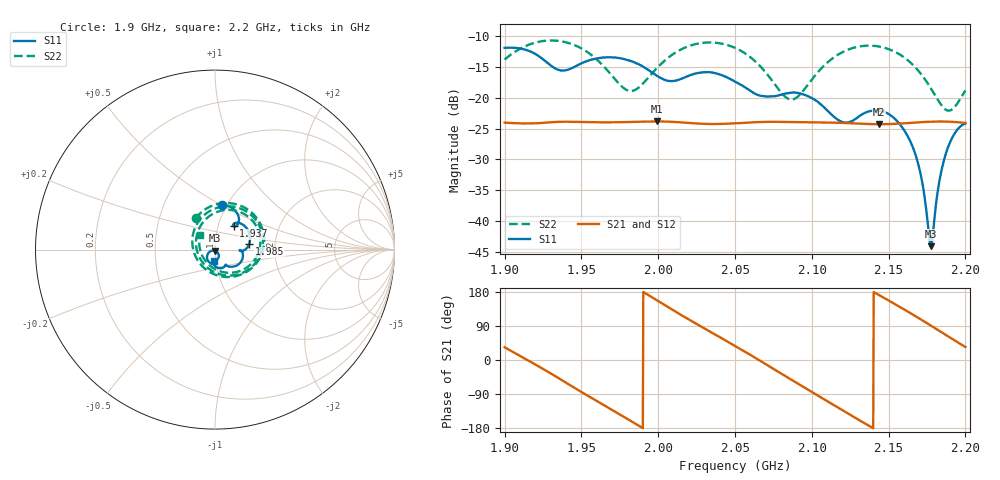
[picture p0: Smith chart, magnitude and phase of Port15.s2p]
# Hz S RI R 50
! CMT, CMT808U, 21440046, 21.4.3/4
! Date: 3/28/2026 5:06:58 PM
! Data: Format (Calibration Info)
! Freq	S11:Re/Im(F2)	S41:Re/Im(F2)	S14:Re/Im(F2)	S44:Re/Im(F2)
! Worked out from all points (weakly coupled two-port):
!   1001 points, 1.9 GHz to 2.2 GHz, reference 50 ohm
!   highest |S21| = -23.83 dB at 1.999 GHz (marker M1); lowest = -24.3 dB at 2.144 GHz (marker M2)
!   lowest |S11| = -44.0 dB at 2.178 GHz (marker M3), VSWR 1.01, Z = 49.8 - j0.607 ohm
!   |S11| at or under -10 dB: start of sweep to end of sweep
!   |S22| runs from -22.1 to -10.7 dB; largest |S21 - S12| = 0.00045
!   S11 on the Smith chart (normalised r, x): 1.9 GHz: 0.95, +0.51; 1.937 GHz: 1.19, +0.32; 1.985 GHz: 1.47, +0.09; 2.2 GHz: 0.99, -0.12
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1.9e9  0.038 0.2512  0.0524 0.0349  0.0521 0.0351  -0.108 0.1735
1.9177e9  0.1257 0.1981  0.0616 -0.00717  0.0615 -0.00681  0.096 0.2573
1.9372e9  0.104 0.1298  0.0385 -0.0511  0.0387 -0.0508  0.2682 0.1011
1.9501e9  0.1179 0.1497  0.006 -0.0633  0.00635 -0.0632  0.2451 -0.0546
1.9675e9  0.1799 0.1142  -0.0371 -0.0513  -0.0367 -0.0514  0.0599 -0.1525
1.9852e9  0.1898 0.0301  -0.0625 -0.0131  -0.0623 -0.0134  -0.113 -0.027
1.999e9  0.1512 -0.00755  -0.0597 0.0241  -0.0597 0.0237  -0.1021 0.14
2.0002e9  0.1479 -0.00797  -0.0583 0.0271  -0.0583 0.0267  -0.0945 0.1527
2.0218e9  0.1531 -0.0169  -0.0133 0.0608  -0.0137 0.0607  0.1326 0.232
2.05e9  0.0961 -0.0953  0.0494 0.0377  0.0491 0.0379  0.2522 -0.0298
2.068e9  0.0611 -0.0831  0.0633 -0.00674  0.0633 -0.00638  0.0925 -0.1444
2.0848e9  0.0502 -0.097  0.0431 -0.047  0.0434 -0.0466  -0.075 -0.063
2.1001e9  0.00903 -0.099  0.00605 -0.063  0.00638 -0.0629  -0.0939 0.1052
2.1208e9  -0.00204 -0.0632  -0.0439 -0.0446  -0.0436 -0.0447  0.0864 0.2209
2.1439e9  -0.0249 -0.0748  -0.0603 0.00947  -0.0603 0.00911  0.2515 0.067
2.1502e9  -0.0387 -0.0627  -0.0562 0.0243  -0.0563 0.024  0.2476 0.00134
2.1673e9  -0.0323 -0.0141  -0.0278 0.0565  -0.0281 0.0563  0.1275 -0.1229
2.1718e9  -0.0199 -0.00677  -0.0166 0.0614  -0.0169 0.0612  0.0799 -0.1293
2.1775e9  -0.00153 -0.00609  -0.000967 0.0641  -0.00138 0.064  0.02 -0.1179
2.1829e9  0.0138 -0.0153  0.0142 0.0627  0.0138 0.0627  -0.0298 -0.0878
2.1868e9  0.0203 -0.027  0.0248 0.0592  0.0244 0.0593  -0.0578 -0.0565
2.2e9  -0.00286 -0.0618  0.0517 0.0353  0.0514 0.0356  -0.0831 0.0792
